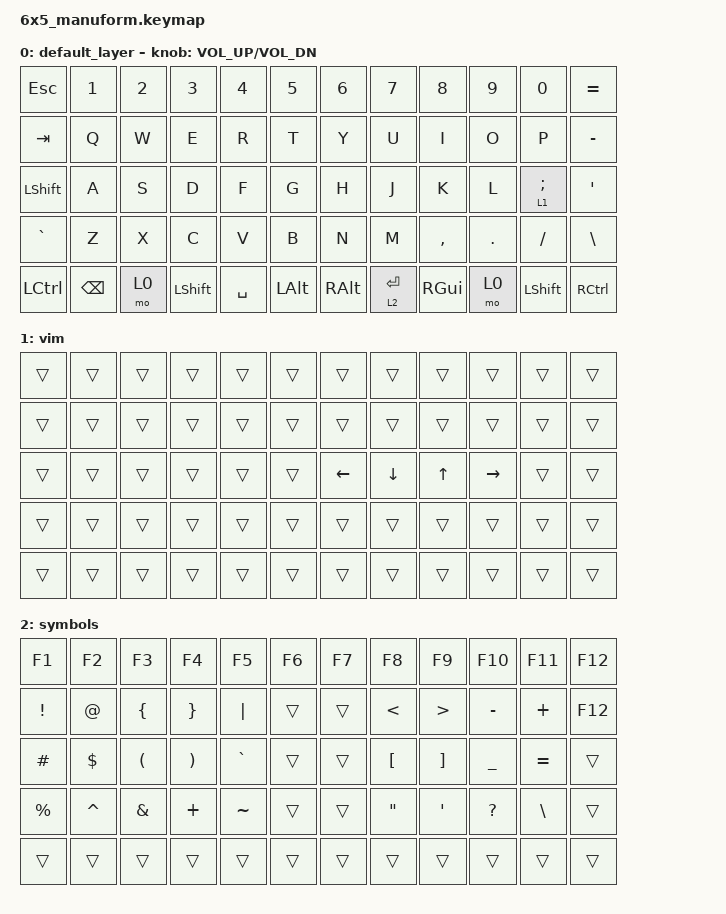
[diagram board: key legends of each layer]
/*
 * Copyright (c) 2020 The ZMK Contributors
 *
 * SPDX-License-Identifier: MIT
 */

#include <behaviors.dtsi>
#include <dt-bindings/zmk/keys.h>

/ {
    behaviors {
        semicolon: semicolon {
            compatible = "zmk,behavior-hold-tap";
            label = "SEMICOLON";
            bindings = <&to>, <&kp>;

            #binding-cells = <2>;
            tapping-term-ms = <50>;
            flavor = "tap-preferred";
        };

        enter: enter {
            compatible = "zmk,behavior-hold-tap";
            label = "ENTER";
            bindings = <&to>, <&kp>;

            #binding-cells = <2>;
            tapping-term-ms = <50>;
            flavor = "tap-preferred";
        };
    };

    combos {
        compatible = "zmk,combos";

        home {
            bindings = <&kp ESCAPE>;
            key-positions = <31 32>;
        };
    };

    keymap {
        compatible = "zmk,keymap";

        default_layer {
            // ------------------------------------------------------------------------------------------------------------
            // |  ESC   |  1  |  2  |  3   |  4   |  5   |                    |  6   |  7    |  8    |  9   |   0   |   `   |
            // |  TAB   |  Q  |  W  |  E   |  R   |  T   |                    |  Y   |  U    |  I    |  O   |   P   |   -   |
            // |  CTRL  |  A  |  S  |  D   |  F   |  G   |                    |  H   |  J    |  K    |  L   |   ;   |   '   |
            // | SHIFT  |  Z  |  X  |  C   |  V   |  B   |                    |  N   |  M    |  ,    |  .   |   /   | SHIFT |
            // |    2   |  2  | f   | 6    | 4    | 1    |                    | 2    | 1     | w     | s    | n     |  a    |

            bindings = <
&kp ESC    &kp N1    &kp N2  &kp N3     &kp N4     &kp N5    &kp N6    &kp N7          &kp N8     &kp N9   &kp N0                  &kp EQUAL
&kp TAB    &kp Q     &kp W   &kp E      &kp R      &kp T     &kp Y     &kp U           &kp I      &kp O    &kp P                   &kp MINUS
&kp LSHFT  &kp A     &kp S   &kp D      &kp F      &kp G     &kp H     &kp J           &kp K      &kp L    &semicolon 1 SEMICOLON  &kp SQT
&kp GRAVE  &kp Z     &kp X   &kp C      &kp V      &kp B     &kp N     &kp M           &kp COMMA  &kp DOT  &kp FSLH                &kp BSLH
&kp LCTRL  &kp BSPC  &mo 0   &kp LSHFT  &kp SPACE  &kp LALT  &kp RALT  &enter 2 ENTER  &kp RGUI   &mo 0    &kp LEFT_SHIFT          &kp RCTRL
            >;

            sensor-bindings = <&inc_dec_kp C_VOL_UP C_VOL_DN>;
        };

        vim {
            bindings = <
&trans  &trans  &trans  &trans  &trans  &trans  &trans          &trans          &trans        &trans           &trans  &trans
&trans  &trans  &trans  &trans  &trans  &trans  &trans          &trans          &trans        &trans           &trans  &trans
&trans  &trans  &trans  &trans  &trans  &trans  &kp LEFT_ARROW  &kp DOWN_ARROW  &kp UP_ARROW  &kp RIGHT_ARROW  &trans  &trans
&trans  &trans  &trans  &trans  &trans  &trans  &trans          &trans          &trans        &trans           &trans  &trans
&trans  &trans  &trans  &trans  &trans  &trans  &trans          &trans          &trans        &trans           &trans  &trans
            >;
        };

        symbols {
            bindings = <
&kp F1           &kp F2       &kp F3                &kp F4                 &kp F5     &kp F6  &kp F7  &kp F8             &kp F9             &kp F10         &kp F11        &kp F12
&kp EXCLAMATION  &kp AT_SIGN  &kp LEFT_BRACE        &kp RIGHT_BRACE        &kp PIPE   &trans  &trans  &kp LESS_THAN      &kp GREATER_THAN   &kp MINUS       &kp PLUS       &kp F12
&kp POUND        &kp DOLLAR   &kp LEFT_PARENTHESIS  &kp RIGHT_PARENTHESIS  &kp GRAVE  &trans  &trans  &kp LEFT_BRACKET   &kp RIGHT_BRACKET  &kp UNDERSCORE  &kp EQUAL      &trans
&kp PERCENT      &kp CARET    &kp AMPERSAND         &kp PLUS               &kp TILDE  &trans  &trans  &kp DOUBLE_QUOTES  &kp SINGLE_QUOTE   &kp QUESTION    &kp BACKSLASH  &trans
&trans           &trans       &trans                &trans                 &trans     &trans  &trans  &trans             &trans             &trans          &trans         &trans
            >;
        };
    };
};
